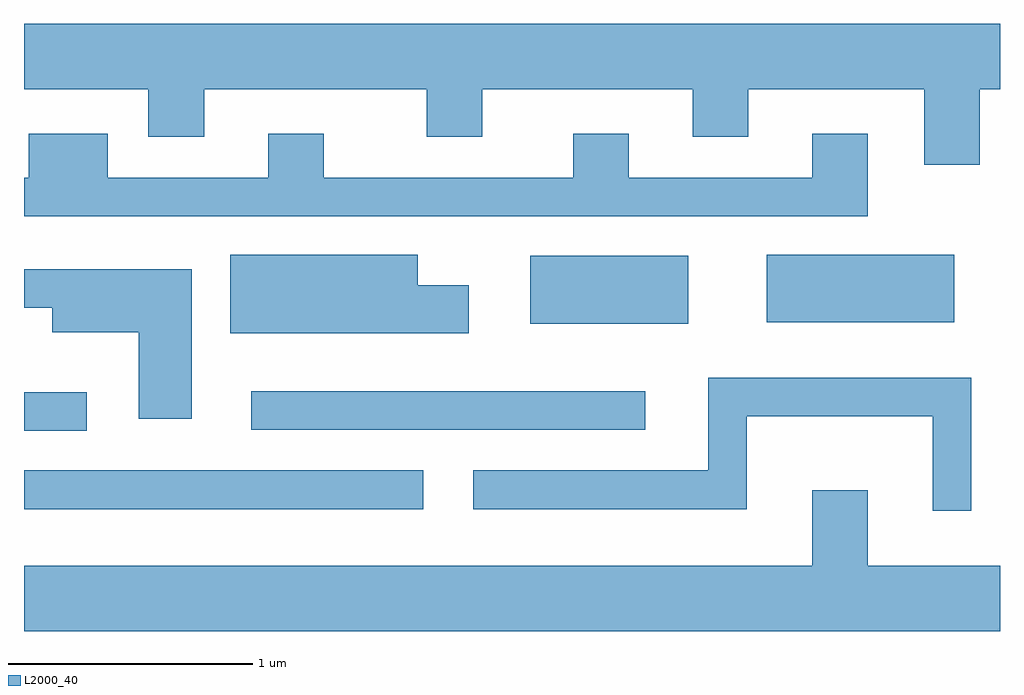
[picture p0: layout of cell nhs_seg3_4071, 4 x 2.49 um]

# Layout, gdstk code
import gdstk
lib = gdstk.Library(unit=1e-6, precision=1e-09)
def R(c, l, rs):  # rectangles x0, y0, x1, y1
    for r in rs: c.add(gdstk.rectangle(r[:2], r[2:], *l))
def P(c, l, *ps):  # polygons
    for p in ps: c.add(gdstk.Polygon(p, *l))
L2000_40 = (2000, 40)

nhs_seg3_4071 = lib.new_cell('nhs_seg3_4071')
R(nhs_seg3_4071, L2000_40, [(303.611,1235.296,305.248,1235.454), (303.611,1235.616,303.868,1235.774), (304.543,1235.621,306.158,1235.779), (305.686,1236.056,306.334,1236.334), (306.656,1236.061,307.424,1236.339)])
P(nhs_seg3_4071, L2000_40, [(307.529,1237.016),(307.611,1237.016),(307.611,1237.284),(303.611,1237.284),(303.611,1237.016),(304.121,1237.016),(304.121,1236.821),(304.349,1236.821),(304.349,1237.016),(305.261,1237.016),(305.261,1236.821),(305.489,1236.821),(305.489,1237.016),(306.351,1237.016),(306.351,1236.821),(306.579,1236.821),(306.579,1237.016),(307.301,1237.016),(307.301,1236.706),(307.529,1236.706)],
  [(307.069,1236.834),(306.841,1236.834),(306.841,1236.654),(306.089,1236.654),(306.089,1236.834),(305.861,1236.834),(305.861,1236.654),(304.839,1236.654),(304.839,1236.834),(304.611,1236.834),(304.611,1236.654),(303.954,1236.654),(303.954,1236.834),(303.631,1236.834),(303.631,1236.654),(303.611,1236.654),(303.611,1236.496),(307.069,1236.496)],
  [(305.434,1236.214),(305.224,1236.214),(305.224,1236.339),(304.456,1236.339),(304.456,1236.016),(305.434,1236.016)],
  [(304.299,1236.279),(303.611,1236.279),(303.611,1236.121),(303.726,1236.121),(303.726,1236.021),(304.081,1236.021),(304.081,1235.666),(304.299,1235.666)],
  [(307.494,1235.834),(306.416,1235.834),(306.416,1235.454),(305.453,1235.454),(305.453,1235.296),(306.574,1235.296),(306.574,1235.676),(307.336,1235.676),(307.336,1235.288),(307.494,1235.288)],
  [(307.611,1235.064),(307.069,1235.064),(307.069,1235.374),(306.841,1235.374),(306.841,1235.064),(303.611,1235.064),(303.611,1234.796),(307.611,1234.796)])

lib.write_gds('nhs_seg3_4071.gds')
